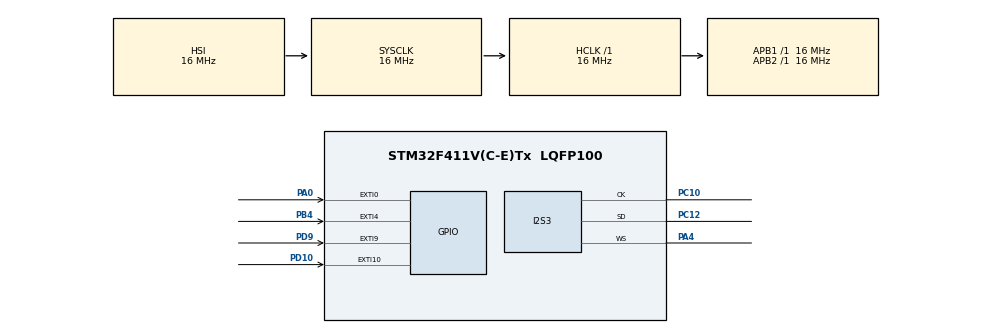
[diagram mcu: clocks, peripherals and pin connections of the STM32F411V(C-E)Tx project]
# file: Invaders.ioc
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Dma.MEMTOMEM.0.Direction=DMA_MEMORY_TO_MEMORY
Dma.MEMTOMEM.0.FIFOMode=DMA_FIFOMODE_ENABLE
Dma.MEMTOMEM.0.FIFOThreshold=DMA_FIFO_THRESHOLD_FULL
Dma.MEMTOMEM.0.Instance=DMA2_Stream0
Dma.MEMTOMEM.0.MemBurst=DMA_MBURST_SINGLE
Dma.MEMTOMEM.0.MemDataAlignment=DMA_MDATAALIGN_WORD
Dma.MEMTOMEM.0.MemInc=DMA_MINC_ENABLE
Dma.MEMTOMEM.0.Mode=DMA_NORMAL
Dma.MEMTOMEM.0.PeriphBurst=DMA_PBURST_SINGLE
Dma.MEMTOMEM.0.PeriphDataAlignment=DMA_PDATAALIGN_WORD
Dma.MEMTOMEM.0.PeriphInc=DMA_PINC_ENABLE
Dma.MEMTOMEM.0.Priority=DMA_PRIORITY_LOW
Dma.Request0=MEMTOMEM
Dma.Request1=SPI3_TX
Dma.SPI3_TX.1.Direction=DMA_MEMORY_TO_PERIPH
Dma.SPI3_TX.1.FIFOMode=DMA_FIFOMODE_DISABLE
Dma.SPI3_TX.1.Instance=DMA1_Stream5
Dma.SPI3_TX.1.MemDataAlignment=DMA_MDATAALIGN_HALFWORD
Dma.SPI3_TX.1.MemInc=DMA_MINC_ENABLE
Dma.SPI3_TX.1.Mode=DMA_NORMAL
Dma.SPI3_TX.1.PeriphDataAlignment=DMA_PDATAALIGN_HALFWORD
Dma.SPI3_TX.1.PeriphInc=DMA_PINC_DISABLE
Dma.SPI3_TX.1.Priority=DMA_PRIORITY_LOW
I2S3.ErrorAudioFreq=0.0 %
I2S3.FullDuplexMode=I2S_FULLDUPLEXMODE_DISABLE
I2S3.Instance=SPI$Index
I2S3.RealAudioFreq=8.0 KHz
I2S3.VirtualMode=I2S_MODE_MASTER
Mcu.Family=STM32F4
Mcu.Name=STM32F411V(C-E)Tx
Mcu.Package=LQFP100
NVIC.DMA1_Stream5_IRQn=true\:0\:0\:false\:false\:true\:false\:true
NVIC.DMA2_Stream0_IRQn=true\:0\:0\:false\:false\:true\:true\:true
NVIC.EXTI0_IRQn=true\:0\:0\:false\:false\:true\:true\:true
NVIC.EXTI15_10_IRQn=true\:0\:0\:false\:false\:true\:true\:true
NVIC.EXTI4_IRQn=true\:0\:0\:false\:false\:true\:true\:true
NVIC.EXTI9_5_IRQn=true\:0\:0\:false\:false\:true\:true\:true
NVIC.PriorityGroup=NVIC_PRIORITYGROUP_4
PA0-WKUP.GPIO_ModeDefaultEXTI=GPIO_MODE_IT_RISING
PA0-WKUP.Signal=GPXTI0
PA4.Mode=Half_Duplex_Master
PA4.Signal=I2S3_WS
PB4.Signal=GPXTI4
PC10.Mode=Half_Duplex_Master
PC10.Signal=I2S3_CK
PC12.Mode=Half_Duplex_Master
PC12.Signal=I2S3_SD
PD10.GPIO_ModeDefaultEXTI=GPIO_MODE_IT_RISING_FALLING
PD10.Signal=GPXTI10
PD9.GPIO_ModeDefaultEXTI=GPIO_MODE_IT_RISING_FALLING
PD9.Signal=GPXTI9
ProjectManager.HeapSize=0x200
ProjectManager.StackSize=0x400
ProjectManager.TargetToolchain=STM32CubeIDE
RCC.AHBFreq_Value=16000000
RCC.APB1Freq_Value=16000000
RCC.APB2Freq_Value=16000000
RCC.CortexFreq_Value=16000000
RCC.HSE_VALUE=25000000
RCC.HSI_VALUE=16000000
RCC.LSE_VALUE=32768
RCC.SYSCLKFreq_VALUE=16000000
RCC.VCOOutputFreq_Value=192000000
board=custom

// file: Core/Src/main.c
/* USER CODE BEGIN Header */
/**
 ******************************************************************************
 * @file           : main.c
 * @brief          : Main program body
 ******************************************************************************
 * @attention
 *
 * <h2><center>&copy; Copyright (c) 2020 STMicroelectronics.
 * All rights reserved.</center></h2>
 *
 * This software component is licensed by ST under BSD 3-Clause license,
 * the "License"; You may not use this file except in compliance with the
 * License. You may obtain a copy of the License at:
 *                        opensource.org/licenses/BSD-3-Clause
 *
 ******************************************************************************
 */
/* USER CODE END Header */

#include "main.h"

/* USER CODE BEGIN Includes */
#include "sound.h"
#include "sprite.h"

#include <stdbool.h>
#include <stdlib.h>
#include <time.h>
/* USER CODE END Includes */

/* USER CODE BEGIN PD */
#define SCREEN_START ((u8 *)0x20020000)
#define SCREEN_W (320)
#define SCREEN_H (200)
#define SCREEN_END ((u8 *)(SCREEN_START + SCREEN_W * SCREEN_H - 1))

#define MAX_CANNON_X (SCREEN_W - (CANNON_W + 1))
#define MAX_INVADER_WIDTH (max(max(CRAB_W, SQUID_W), OCTO_W))
#define MAX_LAZER_COUNT (16)
#define MAX_INVADER_SOUND_COUNT (4)

#define CANNON_SPEED (15)
#define INVADER_SPEED (10)
#define MISSILE_SPEED (10)
#define LAZER_SPEED (10)
#define INVADER_ROW_SIZE (5)
#define INVADER_COLUMN_SIZE (6)
#define TOTAL_INVADER_COUNT (INVADER_ROW_SIZE * INVADER_COLUMN_SIZE)
#define LAZER_TICK_DELAY (100)
#define MENU_DELAY (20)
/* USER CODE END PD */

/* USER CODE BEGIN PM */
#define min(a, b) (a < b ? a : b)

#define max(a, b) (a > b ? a : b)

#define clamp(x, lower, upper) (min(max(x, lower), upper))
/* USER CODE END PM */

/* USER CODE BEGIN PTD */
typedef uint8_t u8;
typedef int8_t i8;
typedef uint16_t u16;
typedef int16_t i16;
typedef uint32_t u32;
typedef int32_t i32;

typedef enum { TITLE_SCREEN, IN_PROGRESS, PLAYER_WIN, PLAYER_LOSE } gamestate;

typedef struct {
  sprite sprites[INVADER_COLUMN_SIZE];
  bool dead[INVADER_COLUMN_SIZE];
  int32_t velocity;
  int32_t bounty;
  bool movedown;
  bool animate;
  i32 alive;
} invaderrow;

typedef struct {
  gamestate state;
  sprite hero;
  i32 hero_lives;
  i32 score;
  invaderrow invaders[INVADER_ROW_SIZE];
  i32 current_invader_row;
  i32 invaders_alive;
  sprite missile;
  sprite lazers[MAX_LAZER_COUNT];
  u32 last_lazer_tick;
  sound missile_shoot_sound;
  sound invader_death_sound;
  sound explosion_sound;
} game;
/* USER CODE END PTD */

I2S_HandleTypeDef hi2s3;
DMA_HandleTypeDef hdma_spi3_tx;

DMA_HandleTypeDef hdma_memtomem_dma2_stream0;
/* USER CODE BEGIN PV */
volatile bool refresh;
volatile bool moving_left;
volatile bool moving_right;
volatile bool shooting;
volatile bool cleared;
/* USER CODE END PV */

void SystemClock_Config(void);
static void MX_GPIO_Init(void);
static void MX_DMA_Init(void);
static void MX_I2S3_Init(void);
/* USER CODE BEGIN PFP */
void StartGame(game *g);
void BitBlit(sprite *s);
void ClearScreen();
void ProcessInvaders(game *g);
void PlaySound(sound *s);
bool HitTest(sprite *s1, sprite *s2);
void DisplayScore(i32 score);
void DisplayLives(i32 lives);
void UpdateGame(game *g);
void DisplayEndScore(i32 score, sprite *message);
/* USER CODE END PFP */

/* USER CODE BEGIN 0 */
void StartGame(game *g) {
  i32 i;
  i32 j;
  sprite *invader;

  g->hero.primary = cannon1_pixels;
  g->hero.secondary = cannon2_pixels;
  g->hero.pixels = g->hero.primary;
  g->hero.w = CANNON_W;
  g->hero.h = CANNON_H;

  g->hero.x = SCREEN_W / 2 - CANNON_W;
  g->hero.y = SCREEN_H - 2 * (CANNON_H + 1) - 3;
  g->hero.anim_count = 0;

  for (i = 0; i < INVADER_ROW_SIZE; ++i) {
    g->invaders[i].velocity = INVADER_SPEED;
    g->invaders[i].movedown = false;
    g->invaders[i].animate = false;
    g->invaders[i].alive = INVADER_COLUMN_SIZE;

    for (j = 0; j < INVADER_COLUMN_SIZE; ++j) {
      invader = &g->invaders[i].sprites[j];
      g->invaders[i].dead[j] = false;

      switch (i) {
      case 0:
        g->invaders[i].bounty = 30;
        invader->primary = squid1_pixels;
        invader->secondary = squid2_pixels;
        invader->w = SQUID_W;
        invader->h = SQUID_H;
        break;
      case 1:
      case 2:
        g->invaders[i].bounty = 20;
        invader->primary = crab1_pixels;
        invader->secondary = crab2_pixels;
        invader->w = CRAB_W;
        invader->h = CRAB_H;
        break;
      case 3:
      case 4:
        g->invaders[i].bounty = 10;
        invader->primary = octo1_pixels;
        invader->secondary = octo2_pixels;
        invader->w = OCTO_W;
        invader->h = OCTO_H;
        break;
      }

      invader->x = j * (MAX_INVADER_WIDTH + 10);
      invader->x += (MAX_INVADER_WIDTH - invader->w) / 2;
      invader->y = SCORE_H + 10 + i * (invader->h + 10);
      invader->pixels = invader->primary;
    }
  }

  g->missile.w = MISSILE_W;
  g->missile.h = MISSILE_H;
  g->missile.x = 0;
  g->missile.y = 0;
  g->missile.pixels = missile_pixels;

  for (i = 0; i < MAX_LAZER_COUNT; ++i) {
    g->lazers[i].w = LAZER_W;
    g->lazers[i].h = LAZER_H;
    g->lazers[i].x = 0;
    g->lazers[i].y = SCREEN_H + LAZER_H;
    g->lazers[i].pixels = lazer_pixels;
  }

  g->missile_shoot_sound.audio = missile_shoot_audio;
  g->missile_shoot_sound.length = MISSILE_SHOOT_LEN;
  g->invader_death_sound.audio = invader_death_audio;
  g->invader_death_sound.length = INVADER_DEATH_LEN;
  g->explosion_sound.audio = explosion_audio;
  g->explosion_sound.length = EXPLOSION_LEN;
  g->current_invader_row = 0;
  g->invaders_alive = TOTAL_INVADER_COUNT;
  g->hero_lives = 3;
  g->state = IN_PROGRESS;
  g->score = 0;
  g->last_lazer_tick = HAL_GetTick();
}

void BitBlit(sprite *s) {
  u32 *word_src;
  u32 *word_dst;
  u8 *src;
  u8 *dst;
  i32 i;
  i32 j;
  i32 word_width;
  i32 byte_width;
  i32 alignment_shift;

  src = s->pixels;
  dst = SCREEN_START + s->x + s->y * SCREEN_W;
  alignment_shift = (u16)s->x % 4;
  if (alignment_shift > s->w) {
    alignment_shift = s->w;
  }

  word_width = (s->w - alignment_shift) / 4;
  byte_width = (s->w - alignment_shift) % 4;

  for (j = 0; j < s->h; ++j) {
    for (i = 0; i < alignment_shift; ++i) {
      *dst++ = *src++;
    }

    word_src = (u32 *)src;
    word_dst = (u32 *)dst;

    for (i = 0; i < word_width; ++i) {
      *word_dst++ = *word_src++;
    }

    src = (u8 *)word_src;
    dst = (u8 *)word_dst;

    for (i = 0; i < byte_width; ++i) {
      *dst++ = *src++;
    }

    dst += SCREEN_W - s->w;
  }
}

void ClearScreen() {
  u32 *src;
  u32 *dst;
  i32 block_count;

  src = (u32 *)SCREEN_START;
  dst = src + 1;
  *src = 0;

  block_count = (SCREEN_W * SCREEN_H / 4) - 1;

  cleared = false;
  HAL_DMA_Start_IT(&hdma_memtomem_dma2_stream0, (u32)src, (u32)dst,
                   block_count);
  while (!cleared) {
  }
}

void ProcessInvaders(game *g) {
  i32 i;
  i32 v;
  i32 invader_index;
  invaderrow *invader_row;
  sprite *invader;

  invader_row = &g->invaders[INVADER_ROW_SIZE - (g->current_invader_row + 1)];
  v = invader_row->velocity;
  for (i = 0; i < INVADER_COLUMN_SIZE; ++i) {
    if (v > 0) {
      invader_index = i;
    } else {
      invader_index = INVADER_COLUMN_SIZE - (i + 1);
    }

    invader = &invader_row->sprites[invader_index];

    if (invader_row->animate) {
      invader->pixels = invader->secondary;
    } else {
      invader->pixels = invader->primary;
    }

    if (invader_row->movedown) {
      invader->y += INVADER_SPEED;

      if (!invader_row->dead[invader_index] &&
          invader->y + invader->h > g->hero.y - g->hero.h) {
        g->state = PLAYER_LOSE;
      }

      if (i == INVADER_COLUMN_SIZE - 1) {
        invader_row->movedown = false;
      }

      continue;
    }

    invader->x += v;

    if (invader->x + invader_row->velocity >
            SCREEN_W - (MAX_INVADER_WIDTH + 1) ||
        invader->x + invader_row->velocity < 0) {
      v *= -1;
      invader_row->velocity = v;
      v *= -1;
      invader_row->movedown = true;
    }
  }

  invader_row->animate = !invader_row->animate;
}

void PlaySound(sound *s) {
  HAL_I2S_Transmit_DMA(&hi2s3, (u16 *)s->audio, s->length);
}

bool HitTest(sprite *s1, sprite *s2) {
  i32 edges1[4];
  i32 edges2[4];

  edges1[0] = s1->x;
  edges1[1] = s1->y;
  edges1[2] = s1->x + s1->w;
  edges1[3] = s1->y + s1->h;
  edges2[0] = s2->x;
  edges2[1] = s2->y;
  edges2[2] = s2->x + s2->w;
  edges2[3] = s2->y + s2->h;

  return edges1[0] < edges2[2] && edges1[2] > edges2[0] &&
         edges1[1] < edges2[3] && edges1[3] > edges2[1];
}

void DisplayScore(i32 score) {
  sprite score_sprite;
  i32 number[3];
  sprite digits[3];
  i32 start;
  i32 i;

  score_sprite.pixels = score_pixels;
  score_sprite.w = SCORE_W;
  score_sprite.h = SCORE_H;
  score_sprite.x = 1;
  score_sprite.y = 1;
  BitBlit(&score_sprite);

  number[0] = (score / 100) % 10;
  number[1] = (score / 10) % 10;
  number[2] = score % 10;

  if (score > 99) {
    start = 0;
  } else if (score > 9) {
    start = 1;
  } else {
    start = 2;
  }

  for (i = start; i < 3; ++i) {
    digits[i].pixels = digits_pixels[number[i]];
    digits[i].x = (score_sprite.x + SCORE_W + 5) + (i - start) * (DIGIT_W + 1);
    digits[i].y = score_sprite.y;
    digits[i].w = DIGIT_W;
    digits[i].h = DIGIT_H;
    BitBlit(&digits[i]);
  }
}

void DisplayLives(i32 lives) {
  i32 i;
  sprite cannon;

  cannon.w = CANNON_W;
  cannon.h = CANNON_H;
  cannon.y = SCREEN_H - (CANNON_H + 1);
  cannon.pixels = cannon1_pixels;

  for (i = 0; i < lives; ++i) {
    cannon.x = i * (CANNON_W + 3);
    BitBlit(&cannon);
  }
}

void UpdateGame(game *g) {
  i32 i;
  i32 j;
  i32 tick;
  i32 random_invader_column;
  sprite *lazer;
  sprite *random_invader;
  invaderrow *invader_row;
  bool invader_hit;

  tick = HAL_GetTick();
  ProcessInvaders(g);

  invader_hit = false;
  if (g->missile.y - MISSILE_SPEED > 0) {
    g->missile.y -= MISSILE_SPEED;
    for (i = 0; i < INVADER_ROW_SIZE && !invader_hit; ++i) {
      invader_row = &g->invaders[i];
      for (j = 0; j < INVADER_COLUMN_SIZE && !invader_hit; ++j) {
        if (HitTest(&g->missile, &invader_row->sprites[j]) &&
            !invader_row->dead[j]) {
          invader_hit = true;
          invader_row->dead[j] = true;
          invader_row->alive -= 1;
          g->invaders_alive -= 1;
          if (g->invaders_alive == 0) {
            g->state = PLAYER_WIN;
          }

          PlaySound(&g->invader_death_sound);
          g->missile.y = 0;
          g->score += g->invaders[i].bounty;
        }
      }
    }

    if (!invader_hit) {
      BitBlit(&g->missile);
    }

    if (shooting) {
      shooting = false;
    }
  } else if (shooting) {
    g->missile.x = g->hero.x + (g->hero.w - g->missile.w) / 2;
    g->missile.y = g->hero.y - g->hero.h;

    PlaySound(&g->missile_shoot_sound);
  }

  for (i = 0; i < MAX_LAZER_COUNT; ++i) {
    lazer = &g->lazers[i];
    if (lazer->y + lazer->h + LAZER_SPEED < SCREEN_H) {
      lazer->y += LAZER_SPEED;
      if (HitTest(lazer, &g->hero)) {
        g->hero_lives -= 1;
        if (g->hero_lives < 0) {
          g->state = PLAYER_LOSE;
        }
        lazer->y = SCREEN_H;

        g->hero.anim_count = 1;
        PlaySound(&g->explosion_sound);
      } else {
        BitBlit(lazer);
      }
    } else if (tick - g->last_lazer_tick > LAZER_TICK_DELAY) {
      g->last_lazer_tick = tick;

      do {
        random_invader_column = rand() % INVADER_COLUMN_SIZE;
        random_invader = &g->invaders[0].sprites[random_invader_column];
      } while (g->invaders[0].dead[random_invader_column]);

      lazer->x = random_invader->x + (random_invader->w - lazer->w) / 2;
      lazer->y = random_invader->y + random_invader->h;
    }
  }

  switch (g->hero.anim_count) {
  case 0:
    g->hero.pixels = g->hero.primary;
    break;
  case 1:
  case 3:
  case 5:
    g->hero.pixels = g->hero.secondary;
    ++g->hero.anim_count;
    break;
  case 2:
  case 4:
    g->hero.pixels = g->hero.primary;
    ++g->hero.anim_count;
    break;
  default:
    g->hero.pixels = g->hero.primary;
    g->hero.anim_count = 0;
  }

  BitBlit(&g->hero);

  for (i = 0; i < INVADER_ROW_SIZE; ++i) {
    for (j = 0; j < INVADER_COLUMN_SIZE; ++j) {
      if (!g->invaders[i].dead[j]) {
        BitBlit(&g->invaders[i].sprites[j]);
      }
    }
  }

  ++g->current_invader_row;
  if (g->current_invader_row == INVADER_ROW_SIZE) {
    g->current_invader_row = 0;
  }

  DisplayScore(g->score);
  DisplayLives(g->hero_lives);
}

void DisplayEndScore(i32 score, sprite *message) {
  sprite score_sprite;
  sprite try_again_sprite;
  i32 number[3];
  sprite digits[3];
  i32 i;

  BitBlit(message);

  score_sprite.pixels = large_score_pixels;
  score_sprite.w = LARGE_SCORE_W;
  score_sprite.h = LARGE_SCORE_H;
  score_sprite.x = LARGE_SCORE_X;
  score_sprite.y = LARGE_SCORE_Y;
  BitBlit(&score_sprite);

  number[0] = (score / 100) % 10;
  number[1] = (score / 10) % 10;
  number[2] = score % 10;

  for (i = 0; i < 3; ++i) {
    digits[i].pixels = large_digits_pixels[number[i]];
    digits[i].w = LARGE_DIGIT_W;
    digits[i].h = LARGE_DIGIT_H;
    digits[i].x = LARGE_SCORE_DIGIT_X + i * (LARGE_DIGIT_W + LARGE_DIGIT_GAP);
    digits[i].y = LARGE_SCORE_DIGIT_Y;
    BitBlit(&digits[i]);
  }

  try_again_sprite.pixels = try_again_pixels;
  try_again_sprite.w = TRY_AGAIN_W;
  try_again_sprite.h = TRY_AGAIN_H;
  try_again_sprite.x = TRY_AGAIN_X;
  try_again_sprite.y = TRY_AGAIN_Y;
  BitBlit(&try_again_sprite);
}
/* USER CODE END 0 */

int main(void) {
  /* USER CODE BEGIN 1 */
  game g;
  sprite presents_sprite;
  sprite logo_sprite;
  sprite play_sprite;
  sprite lose_sprite;
  sprite win_sprite;
  /* USER CODE END 1 */

  /* MCU Configuration--------------------------------------------------------*/

  /* Reset of all peripherals, Initializes the Flash interface and the Systick.
   */
  HAL_Init();

  /* USER CODE BEGIN Init */
  moving_left = false;
  moving_right = false;
  shooting = false;
  refresh = true;
  srand(time(0));
  g.state = TITLE_SCREEN;
  presents_sprite.w = PRESENTS_W;
  presents_sprite.h = PRESENTS_H;
  presents_sprite.x = PRESENTS_X;
  presents_sprite.y = PRESENTS_Y;
  presents_sprite.pixels = presents_pixels;
  logo_sprite.w = LOGO_W;
  logo_sprite.h = LOGO_H;
  logo_sprite.x = LOGO_X;
  logo_sprite.y = LOGO_Y;
  logo_sprite.pixels = logo_pixels;
  play_sprite.w = PLAY_W;
  play_sprite.h = PLAY_H;
  play_sprite.x = PLAY_X;
  play_sprite.y = PLAY_Y;
  play_sprite.pixels = play_pixels;
  lose_sprite.w = LOSE_W;
  lose_sprite.h = LOSE_H;
  lose_sprite.x = LOSE_X;
  lose_sprite.y = LOSE_Y;
  lose_sprite.pixels = lose_pixels;
  win_sprite.w = WIN_W;
  win_sprite.h = WIN_H;
  win_sprite.x = WIN_X;
  win_sprite.y = WIN_Y;
  win_sprite.pixels = win_pixels;
  /* USER CODE END Init */

  /* Configure the system clock */
  SystemClock_Config();

  /* Initialize all configured peripherals */
  MX_GPIO_Init();
  MX_DMA_Init();
  MX_I2S3_Init();

  /* Infinite loop */
  /* USER CODE BEGIN WHILE */
  while (1) {
    if (g.state == TITLE_SCREEN) {
      BitBlit(&presents_sprite);
      BitBlit(&logo_sprite);
      BitBlit(&play_sprite);

      while (!shooting) {
        HAL_Delay(MENU_DELAY);
      }

      shooting = false;
      StartGame(&g);
    }

    while (g.state == IN_PROGRESS) {
      if (!refresh) {
        continue;
      }
      /* USER CODE END WHILE */

      /* USER CODE BEGIN 3 */
      ClearScreen();

      if (moving_left) {
        if (g.hero.x - CANNON_SPEED > 0) {
          g.hero.x -= CANNON_SPEED;
        } else {
          g.hero.x = 0;
        }
      }

      if (moving_right) {
        if (g.hero.x + CANNON_SPEED < MAX_CANNON_X) {
          g.hero.x += CANNON_SPEED;
        } else {
          g.hero.x = MAX_CANNON_X;
        }
      }

      UpdateGame(&g);

      refresh = false;
    }

    ClearScreen();

    if (g.state == PLAYER_LOSE) {
      DisplayEndScore(g.score, &lose_sprite);
    }

    if (g.state == PLAYER_WIN) {
      DisplayEndScore(g.score, &win_sprite);
    }

    HAL_Delay(100);

    while (!shooting) {
      HAL_Delay(MENU_DELAY);
    }

    shooting = false;
    StartGame(&g);
  }
  /* USER CODE END 3 */
}

void SystemClock_Config(void) {
  RCC_OscInitTypeDef RCC_OscInitStruct = {0};
  RCC_ClkInitTypeDef RCC_ClkInitStruct = {0};
  RCC_PeriphCLKInitTypeDef PeriphClkInitStruct = {0};

  /** Macro to configure the PLL multiplication factor
   */
  __HAL_RCC_PLL_PLLM_CONFIG(16);
  /** Macro to configure the PLL clock source
   */
  __HAL_RCC_PLL_PLLSOURCE_CONFIG(RCC_PLLSOURCE_HSI);
  /** Configure the main internal regulator output voltage
   */
  __HAL_RCC_PWR_CLK_ENABLE();
  __HAL_PWR_VOLTAGESCALING_CONFIG(PWR_REGULATOR_VOLTAGE_SCALE1);
  /** Initializes the CPU, AHB and APB busses clocks
   */
  RCC_OscInitStruct.OscillatorType = RCC_OSCILLATORTYPE_HSI;
  RCC_OscInitStruct.HSIState = RCC_HSI_ON;
  RCC_OscInitStruct.HSICalibrationValue = RCC_HSICALIBRATION_DEFAULT;
  RCC_OscInitStruct.PLL.PLLState = RCC_PLL_NONE;
  RCC_OscInitStruct.PLL.PLLSource = RCC_PLLSOURCE_HSI;
  if (HAL_RCC_OscConfig(&RCC_OscInitStruct) != HAL_OK) {
    Error_Handler();
  }
  /** Initializes the CPU, AHB and APB busses clocks
   */
  RCC_ClkInitStruct.ClockType = RCC_CLOCKTYPE_HCLK | RCC_CLOCKTYPE_SYSCLK |
                                RCC_CLOCKTYPE_PCLK1 | RCC_CLOCKTYPE_PCLK2;
  RCC_ClkInitStruct.SYSCLKSource = RCC_SYSCLKSOURCE_HSI;
  RCC_ClkInitStruct.AHBCLKDivider = RCC_SYSCLK_DIV1;
  RCC_ClkInitStruct.APB1CLKDivider = RCC_HCLK_DIV1;
  RCC_ClkInitStruct.APB2CLKDivider = RCC_HCLK_DIV1;

  if (HAL_RCC_ClockConfig(&RCC_ClkInitStruct, FLASH_LATENCY_0) != HAL_OK) {
    Error_Handler();
  }
  PeriphClkInitStruct.PeriphClockSelection = RCC_PERIPHCLK_I2S;
  PeriphClkInitStruct.PLLI2S.PLLI2SN = 192;
  PeriphClkInitStruct.PLLI2S.PLLI2SM = 16;
  PeriphClkInitStruct.PLLI2S.PLLI2SR = 2;
  if (HAL_RCCEx_PeriphCLKConfig(&PeriphClkInitStruct) != HAL_OK) {
    Error_Handler();
  }
}

static void MX_I2S3_Init(void) {

  hi2s3.Instance = SPI3;
  hi2s3.Init.Mode = I2S_MODE_MASTER_TX;
  hi2s3.Init.Standard = I2S_STANDARD_PHILIPS;
  hi2s3.Init.DataFormat = I2S_DATAFORMAT_16B;
  hi2s3.Init.MCLKOutput = I2S_MCLKOUTPUT_DISABLE;
  hi2s3.Init.AudioFreq = I2S_AUDIOFREQ_8K;
  hi2s3.Init.CPOL = I2S_CPOL_LOW;
  hi2s3.Init.ClockSource = I2S_CLOCK_PLL;
  hi2s3.Init.FullDuplexMode = I2S_FULLDUPLEXMODE_DISABLE;
  if (HAL_I2S_Init(&hi2s3) != HAL_OK) {
    Error_Handler();
  }
}

static void MX_DMA_Init(void) {

  /* DMA controller clock enable */
  __HAL_RCC_DMA2_CLK_ENABLE();
  __HAL_RCC_DMA1_CLK_ENABLE();

  /* Configure DMA request hdma_memtomem_dma2_stream0 on DMA2_Stream0 */
  hdma_memtomem_dma2_stream0.Instance = DMA2_Stream0;
  hdma_memtomem_dma2_stream0.Init.Channel = DMA_CHANNEL_0;
  hdma_memtomem_dma2_stream0.Init.Direction = DMA_MEMORY_TO_MEMORY;
  hdma_memtomem_dma2_stream0.Init.PeriphInc = DMA_PINC_ENABLE;
  hdma_memtomem_dma2_stream0.Init.MemInc = DMA_MINC_ENABLE;
  hdma_memtomem_dma2_stream0.Init.PeriphDataAlignment = DMA_PDATAALIGN_WORD;
  hdma_memtomem_dma2_stream0.Init.MemDataAlignment = DMA_MDATAALIGN_WORD;
  hdma_memtomem_dma2_stream0.Init.Mode = DMA_NORMAL;
  hdma_memtomem_dma2_stream0.Init.Priority = DMA_PRIORITY_LOW;
  hdma_memtomem_dma2_stream0.Init.FIFOMode = DMA_FIFOMODE_ENABLE;
  hdma_memtomem_dma2_stream0.Init.FIFOThreshold = DMA_FIFO_THRESHOLD_FULL;
  hdma_memtomem_dma2_stream0.Init.MemBurst = DMA_MBURST_SINGLE;
  hdma_memtomem_dma2_stream0.Init.PeriphBurst = DMA_PBURST_SINGLE;
  if (HAL_DMA_Init(&hdma_memtomem_dma2_stream0) != HAL_OK) {
    Error_Handler();
  }

  /* DMA interrupt init */
  /* DMA1_Stream5_IRQn interrupt configuration */
  HAL_NVIC_SetPriority(DMA1_Stream5_IRQn, 0, 0);
  HAL_NVIC_EnableIRQ(DMA1_Stream5_IRQn);
  /* DMA2_Stream0_IRQn interrupt configuration */
  HAL_NVIC_SetPriority(DMA2_Stream0_IRQn, 0, 0);
  HAL_NVIC_EnableIRQ(DMA2_Stream0_IRQn);
}

static void MX_GPIO_Init(void) {
  GPIO_InitTypeDef GPIO_InitStruct = {0};

  /* GPIO Ports Clock Enable */
  __HAL_RCC_GPIOA_CLK_ENABLE();
  __HAL_RCC_GPIOD_CLK_ENABLE();
  __HAL_RCC_GPIOC_CLK_ENABLE();
  __HAL_RCC_GPIOB_CLK_ENABLE();

  /*Configure GPIO pin : PA0 */
  GPIO_InitStruct.Pin = GPIO_PIN_0;
  GPIO_InitStruct.Mode = GPIO_MODE_IT_RISING;
  GPIO_InitStruct.Pull = GPIO_NOPULL;
  HAL_GPIO_Init(GPIOA, &GPIO_InitStruct);

  /*Configure GPIO pins : PD9 PD10 */
  GPIO_InitStruct.Pin = GPIO_PIN_9 | GPIO_PIN_10;
  GPIO_InitStruct.Mode = GPIO_MODE_IT_RISING_FALLING;
  GPIO_InitStruct.Pull = GPIO_NOPULL;
  HAL_GPIO_Init(GPIOD, &GPIO_InitStruct);

  /*Configure GPIO pin : PB4 */
  GPIO_InitStruct.Pin = GPIO_PIN_4;
  GPIO_InitStruct.Mode = GPIO_MODE_IT_RISING;
  GPIO_InitStruct.Pull = GPIO_NOPULL;
  HAL_GPIO_Init(GPIOB, &GPIO_InitStruct);

  /* EXTI interrupt init*/
  HAL_NVIC_SetPriority(EXTI0_IRQn, 0, 0);
  HAL_NVIC_EnableIRQ(EXTI0_IRQn);

  HAL_NVIC_SetPriority(EXTI4_IRQn, 0, 0);
  HAL_NVIC_EnableIRQ(EXTI4_IRQn);

  HAL_NVIC_SetPriority(EXTI9_5_IRQn, 0, 0);
  HAL_NVIC_EnableIRQ(EXTI9_5_IRQn);

  HAL_NVIC_SetPriority(EXTI15_10_IRQn, 0, 0);
  HAL_NVIC_EnableIRQ(EXTI15_10_IRQn);
}

/* USER CODE BEGIN 4 */
void HAL_GPIO_EXTI_Callback(uint16_t GPIO_Pin) {
  switch (GPIO_Pin) {
  case GPIO_PIN_4:
    refresh = true;
    break;
  case GPIO_PIN_10:
    moving_left = !moving_left;
    break;
  case GPIO_PIN_9:
    moving_right = !moving_right;
    break;
  case GPIO_PIN_0:
    shooting = true;
    break;
  default:
    break;
  }
}
/* USER CODE END 4 */

void Error_Handler(void) {
}

#ifdef USE_FULL_ASSERT
/**
 * @brief  Reports the name of the source file and the source line number
 *         where the assert_param error has occurred.
 * @param  file: pointer to the source file name
 * @param  line: assert_param error line source number
 * @retval None
 */
void assert_failed(uint8_t *file, uint32_t line) {
  /* USER CODE BEGIN 6 */
  /* User can add his own implementation to report the file name and line
     number,
     tex: printf("Wrong parameters value: file %s on line %d\r\n", file, line)
   */
  /* USER CODE END 6 */
}
#endif /* USE_FULL_ASSERT */

/************************ (C) COPYRIGHT STMicroelectronics *****END OF FILE****/
